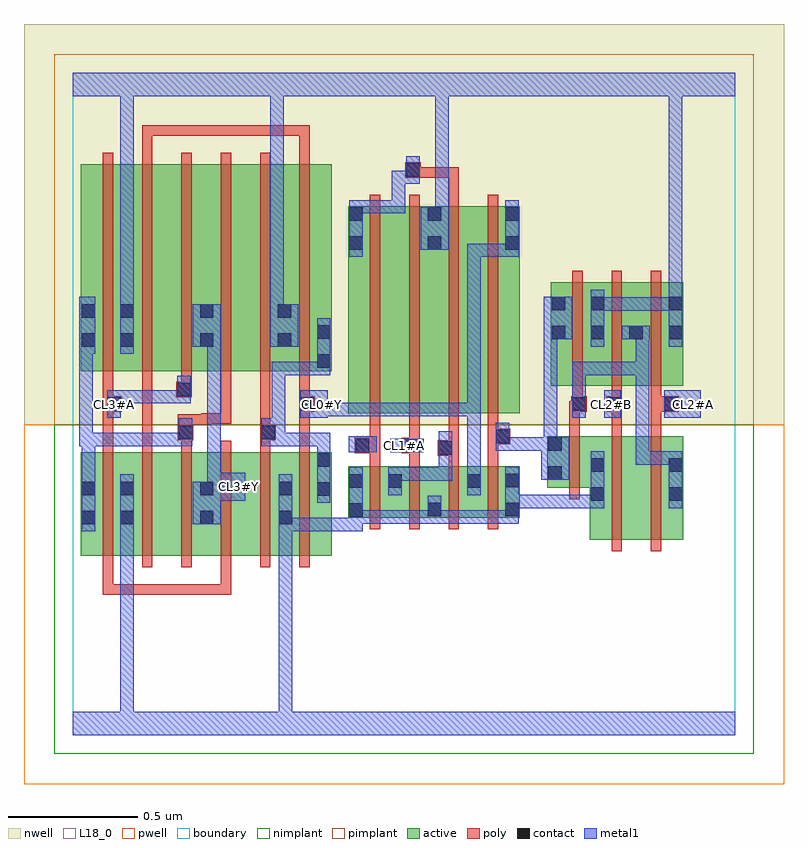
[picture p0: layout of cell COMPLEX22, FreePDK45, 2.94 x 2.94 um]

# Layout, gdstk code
import gdstk
lib = gdstk.Library(unit=1e-6, precision=1e-09)
def R(c, l, rs):  # rectangles x0, y0, x1, y1
    for r in rs: c.add(gdstk.rectangle(r[:2], r[2:], *l))
def A(c, l, x, y, w, h, nx, ny, dx, dy):  # array of equal rectangles
    R(c, l, [(x+i*dx, y+j*dy, x+i*dx+w, y+j*dy+h) for i in range(nx) for j in range(ny)])
active = (1, 0)
pwell = (2, 0)
nwell = (3, 0)
nimplant = (4, 0)
pimplant = (5, 0)
poly = (9, 0)
contact = (10, 0)
metal1 = (11, 0)
L18_0 = (18, 0)
boundary = (235, 0)

complex22 = lib.new_cell('COMPLEX22')
A(complex22, active, 1.064, 0.84, 0.212, 0.2, 3, 1, 0.152, 0)
R(complex22, active, [(0.032,0.694,0.24,1.094), (0.18,0.694,0.364,1.094), (0.364,0.694,0.548,1.094), (0.488,0.694,0.668,1.094), (0.668,0.694,0.852,1.094), (0.792,0.694,1,1.094), (0.032,0.756,0.092,1.094), (0.18,0.756,0.24,1.094), (0.488,0.756,0.548,1.094), (0.792,0.756,0.852,1.094), (0.94,0.756,1,1.094), (1.998,0.756,2.178,1.156), (1.998,0.756,2.058,1.074), (2.178,0.756,2.358,1.156), (2.298,0.756,2.358,1.156), (1.064,0.84,1.124,1.04), (1.368,0.84,1.428,0.902), (1.52,0.84,1.728,1.04), (1.668,0.84,1.728,1.04), (1.216,0.952,1.276,1.04), (1.52,0.952,1.58,1.012), (1.834,0.956,2.058,1.156), (1.834,0.956,1.894,1.156), (1.064,1.244,1.124,2.044), (1.064,1.244,1.244,2.044), (1.244,1.244,1.428,2.044), (1.368,1.244,1.548,2.044), (1.548,1.244,1.728,2.044), (1.668,1.244,1.728,2.044), (1.846,1.35,1.906,1.698), (1.846,1.35,2.058,1.75), (1.998,1.35,2.206,1.75), (1.998,1.35,2.058,1.698), (2.146,1.35,2.358,1.75), (2.146,1.35,2.206,1.644), (2.298,1.35,2.358,1.698), (0.032,1.406,0.092,2.044), (0.032,1.406,0.24,2.206), (0.18,1.406,0.364,2.206), (0.18,1.406,0.24,2.044), (0.364,1.406,0.548,2.206), (0.488,1.406,0.668,2.206), (0.488,1.406,0.548,2.044), (0.668,1.406,0.848,2.206), (0.788,1.406,0.848,2.044), (0.788,1.406,1,2.206), (0.94,1.406,1,2.044), (1.368,1.638,1.428,2.044)])
R(complex22, pwell, [(-0.188,-0.188,2.748,1.2)])
R(complex22, nwell, [(-0.188,1.2,2.748,2.748)])
R(complex22, nimplant, [(-0.072,-0.072,2.632,1.2)])
R(complex22, pimplant, [(-0.072,1.2,2.632,2.632)])
A(complex22, poly, 0.116, 0.65, 0.04, 0.488, 6, 1, 0.152, 0)
A(complex22, poly, 1.148, 0.796, 0.04, 0.288, 4, 1, 0.152, 0)
A(complex22, poly, 1.148, 1.2, 0.04, 0.888, 4, 1, 0.152, 0)
A(complex22, poly, 1.93, 1.27, 0.04, 0.076, 3, 1, 0.152, 0)
A(complex22, poly, 1.93, 1.306, 0.04, 0.488, 3, 1, 0.152, 0)
A(complex22, poly, 0.116, 1.362, 0.04, 0.888, 6, 1, 0.152, 0)
R(complex22, poly, [(0.116,0.544,0.156,0.584), (0.116,0.544,0.156,0.69), (0.116,0.544,0.324,0.584), (0.284,0.544,0.324,0.584), (0.284,0.544,0.324,0.584), (0.284,0.544,0.324,0.584), (0.284,0.544,0.43,0.584), (0.39,0.544,0.43,0.584), (0.39,0.544,0.43,0.584), (0.39,0.544,0.43,0.584), (0.39,0.544,0.536,0.584), (0.496,0.544,0.536,0.584), (0.496,0.544,0.612,0.584), (0.572,0.544,0.612,0.584), (0.572,0.544,0.612,0.69), (2.082,0.712,2.122,1.2), (2.234,0.712,2.274,1.2), (1.918,0.912,1.958,1.2), (1.148,1.044,1.188,1.13), (1.3,1.044,1.34,1.13), (1.452,1.044,1.492,1.12), (1.604,1.044,1.644,1.164), (1.41,1.08,1.492,1.14), (1.09,1.09,1.188,1.15), (1.272,1.09,1.34,1.15), (0.116,1.098,0.156,1.29), (0.268,1.098,0.308,1.366), (0.42,1.098,0.46,1.18), (0.724,1.098,0.764,1.18), (0.876,1.098,0.916,1.29), (1.452,1.1,1.492,1.14), (1.452,1.1,1.492,1.14), (1.452,1.1,1.492,1.24), (1.148,1.11,1.188,1.15), (1.148,1.11,1.188,1.15), (1.148,1.11,1.188,1.24), (1.3,1.11,1.34,1.15), (1.3,1.11,1.34,1.15), (1.3,1.11,1.34,1.24), (1.604,1.124,1.644,1.164), (1.604,1.124,1.644,1.164), (1.604,1.124,1.69,1.184), (0.406,1.14,0.466,1.24), (0.724,1.14,0.784,1.2), (1.604,1.144,1.644,1.24), (0.724,1.16,0.764,1.2), (0.724,1.16,0.764,1.2), (0.724,1.16,0.764,1.402), (1.918,1.16,1.958,1.29), (2.082,1.16,2.122,1.29), (2.234,1.16,2.274,1.29), (0.426,1.2,0.536,1.24), (0.496,1.2,0.536,1.244), (0.496,1.204,0.612,1.244), (0.572,1.204,0.612,1.244), (0.572,1.204,0.612,1.244), (0.572,1.204,0.612,1.244), (0.572,1.204,0.612,1.402), (0.116,1.25,0.156,1.29), (0.116,1.25,0.156,1.29), (0.116,1.25,0.19,1.31), (0.876,1.25,0.916,1.29), (0.876,1.25,0.916,1.29), (0.876,1.25,0.936,1.31), (1.918,1.25,1.966,1.29), (1.926,1.25,1.966,1.29), (1.926,1.25,1.986,1.31), (2.062,1.25,2.122,1.31), (2.234,1.25,2.274,1.29), (2.234,1.25,2.274,1.29), (2.234,1.25,2.342,1.31), (0.116,1.27,0.156,1.402), (0.876,1.27,0.916,1.402), (2.082,1.27,2.122,1.31), (2.082,1.27,2.122,1.31), (0.4,1.306,0.46,1.366), (0.268,1.326,0.308,1.402), (0.268,1.326,0.308,1.366), (0.268,1.326,0.308,1.366), (0.268,1.326,0.308,1.366), (0.42,1.326,0.46,1.402), (1.452,2.048,1.492,2.194), (1.284,2.154,1.344,2.214), (1.304,2.154,1.344,2.194), (1.304,2.154,1.344,2.194), (1.304,2.154,1.492,2.194), (1.452,2.154,1.492,2.194), (0.268,2.21,0.308,2.356), (0.876,2.21,0.916,2.356), (0.268,2.316,0.308,2.356), (0.268,2.316,0.43,2.356), (0.39,2.316,0.43,2.356), (0.39,2.316,0.43,2.356), (0.39,2.316,0.43,2.356), (0.39,2.316,0.572,2.356), (0.532,2.316,0.572,2.356), (0.532,2.316,0.572,2.356), (0.532,2.316,0.572,2.356), (0.532,2.316,0.678,2.356), (0.638,2.316,0.678,2.356), (0.638,2.316,0.678,2.356), (0.638,2.316,0.678,2.356), (0.638,2.316,0.916,2.356), (0.876,2.316,0.916,2.356), (0.876,2.316,0.916,2.356), (0.876,2.316,0.916,2.356)])
R(complex22, contact, [(0.036,0.816,0.088,0.868), (0.184,0.816,0.236,0.868), (0.492,0.816,0.544,0.868), (0.796,0.816,0.848,0.868), (1.068,0.844,1.12,0.896), (1.372,0.846,1.424,0.898), (1.672,0.846,1.724,0.898), (2.002,0.906,2.054,0.958), (2.302,0.906,2.354,0.958), (0.944,0.926,0.996,0.978), (0.036,0.928,0.088,0.98), (0.184,0.928,0.236,0.98), (0.492,0.928,0.544,0.98), (0.796,0.928,0.848,0.98), (1.068,0.956,1.12,1.008), (1.22,0.956,1.272,1.008), (1.524,0.956,1.576,1.008), (1.672,0.958,1.724,1.01), (1.838,0.988,1.89,1.04), (2.002,1.018,2.054,1.07), (2.302,1.018,2.354,1.07), (0.944,1.038,0.996,1.09), (1.414,1.084,1.466,1.136), (1.094,1.094,1.146,1.146), (1.276,1.094,1.328,1.146), (1.838,1.1,1.89,1.152), (1.634,1.128,1.686,1.18), (0.41,1.144,0.462,1.196), (0.728,1.144,0.78,1.196), (0.134,1.254,0.186,1.306), (0.88,1.254,0.932,1.306), (1.93,1.254,1.982,1.306), (2.066,1.254,2.118,1.306), (2.286,1.254,2.338,1.306), (0.404,1.31,0.456,1.362), (0.944,1.42,0.996,1.472), (0.036,1.502,0.088,1.554), (0.184,1.502,0.236,1.554), (0.492,1.502,0.544,1.554), (0.792,1.502,0.844,1.554), (1.85,1.53,1.902,1.582), (2.002,1.53,2.054,1.582), (2.15,1.53,2.202,1.582), (2.302,1.53,2.354,1.582), (0.944,1.532,0.996,1.584), (0.036,1.614,0.088,1.666), (0.184,1.614,0.236,1.666), (0.492,1.614,0.544,1.666), (0.792,1.614,0.844,1.666), (1.85,1.642,1.902,1.694), (2.002,1.642,2.054,1.694), (2.302,1.642,2.354,1.694), (1.068,1.876,1.12,1.928), (1.372,1.876,1.424,1.928), (1.672,1.876,1.724,1.928), (1.068,1.988,1.12,2.04), (1.372,1.988,1.424,2.04), (1.672,1.988,1.724,2.04), (1.288,2.158,1.34,2.21)])
R(complex22, metal1, [(0,0,2.56,0.092), (0.184,0.04,0.236,0.84), (0.796,0.04,0.848,0.84), (0.036,0.788,0.088,1.008), (0.184,0.788,0.236,0.84), (0.184,0.788,0.236,0.84), (0.184,0.788,0.236,0.84), (0.184,0.788,0.236,0.84), (0.184,0.788,0.236,0.84), (0.184,0.788,0.236,0.84), (0.184,0.788,0.236,0.84), (0.184,0.788,0.236,0.84), (0.184,0.788,0.236,0.84), (0.184,0.788,0.236,0.84), (0.184,0.788,0.236,0.84), (0.184,0.788,0.236,0.84), (0.184,0.788,0.236,1.008), (0.796,0.788,0.848,0.84), (0.796,0.788,0.848,0.84), (0.796,0.788,0.848,0.84), (0.796,0.788,0.848,0.84), (0.796,0.788,0.848,0.84), (0.796,0.788,0.848,0.84), (0.796,0.788,0.848,0.84), (0.796,0.788,0.848,0.84), (0.796,0.788,0.848,0.84), (0.796,0.788,0.848,0.84), (0.796,0.788,0.848,0.84), (0.796,0.788,0.848,0.84), (0.796,0.788,0.848,1.008), (0.796,0.788,1.008,0.84), (0.956,0.788,1.008,0.84), (0.956,0.788,1.008,0.84), (0.956,0.788,1.008,0.84), (0.956,0.788,1.12,0.84), (1.068,0.788,1.12,0.84), (1.068,0.788,1.12,0.84), (1.068,0.788,1.12,0.84), (1.068,0.788,1.12,0.868), (0.464,0.816,0.572,0.98), (1.068,0.816,1.12,1.036), (1.068,0.818,1.12,0.87), (1.068,0.818,1.12,0.87), (1.068,0.818,1.286,0.87), (1.234,0.818,1.286,0.87), (1.234,0.818,1.286,0.87), (1.234,0.818,1.286,0.87), (1.234,0.818,1.424,0.87), (1.372,0.818,1.424,0.926), (1.372,0.818,1.576,0.87), (1.524,0.818,1.576,0.87), (1.524,0.818,1.576,0.87), (1.524,0.818,1.576,0.87), (1.524,0.818,1.724,0.87), (1.672,0.818,1.724,0.87), (1.672,0.818,1.724,0.87), (1.672,0.818,1.724,1.038), (1.672,0.878,1.84,0.93), (1.788,0.878,1.84,0.93), (1.788,0.878,1.84,0.93), (1.788,0.878,1.84,0.93), (1.788,0.878,2.054,0.93), (2.002,0.878,2.054,1.098), (2.302,0.878,2.354,1.098), (0.944,0.898,0.996,1.118), (0.52,0.906,0.666,1.014), (0.52,0.928,0.572,0.98), (1.22,0.928,1.272,1.036), (1.524,0.928,1.576,1.036), (0.036,0.956,0.088,1.168), (0.52,0.962,0.572,1.014), (0.52,0.962,0.572,1.014), (0.52,0.962,0.572,1.554), (1.22,0.984,1.344,1.036), (1.292,0.984,1.344,1.036), (1.292,0.984,1.466,1.036), (1.414,0.984,1.466,1.036), (1.414,0.984,1.466,1.118), (1.524,0.984,1.576,1.284), (1.81,0.988,1.918,1.152), (2.176,1.046,2.228,1.098), (2.176,1.046,2.354,1.098), (2.176,1.046,2.228,1.444), (2.302,1.046,2.354,1.098), (2.302,1.046,2.354,1.098), (2.302,1.046,2.354,1.098), (2.302,1.046,2.354,1.098), (1.414,1.056,1.466,1.164), (0.944,1.066,0.996,1.168), (1.414,1.066,1.466,1.118), (1.414,1.066,1.466,1.174), (1.066,1.094,1.174,1.156), (1.226,1.094,1.356,1.146), (1.634,1.1,1.686,1.152), (1.634,1.1,1.686,1.152), (1.634,1.1,1.686,1.208), (1.634,1.1,1.872,1.152), (1.82,1.1,1.872,1.152), (1.82,1.1,1.872,1.152), (1.82,1.1,1.872,1.152), (1.82,1.1,1.872,1.152), (1.82,1.1,1.872,1.582), (0.026,1.116,0.078,1.526), (0.026,1.116,0.088,1.168), (0.036,1.116,0.088,1.168), (0.036,1.116,0.088,1.168), (0.036,1.116,0.296,1.168), (0.244,1.116,0.296,1.168), (0.244,1.116,0.296,1.168), (0.244,1.116,0.296,1.168), (0.244,1.116,0.406,1.168), (0.354,1.116,0.406,1.168), (0.354,1.116,0.462,1.168), (0.41,1.116,0.462,1.224), (0.728,1.116,0.78,1.224), (0.728,1.116,0.822,1.168), (0.77,1.116,0.822,1.168), (0.77,1.116,0.996,1.168), (0.77,1.116,0.822,1.444), (0.944,1.116,0.996,1.168), (0.944,1.116,0.996,1.168), (0.944,1.116,0.996,1.168), (0.134,1.226,0.186,1.334), (0.88,1.226,0.986,1.334), (1.93,1.226,1.982,1.334), (2.054,1.226,2.118,1.334), (2.286,1.226,2.426,1.334), (0.934,1.232,0.986,1.284), (0.934,1.232,0.986,1.284), (0.934,1.232,1.162,1.284), (1.11,1.232,1.162,1.284), (1.11,1.232,1.162,1.284), (1.11,1.232,1.162,1.284), (1.11,1.232,1.286,1.284), (1.234,1.232,1.286,1.284), (1.234,1.232,1.286,1.284), (1.234,1.232,1.286,1.284), (1.234,1.232,1.466,1.284), (1.414,1.232,1.466,1.284), (1.414,1.232,1.466,1.284), (1.414,1.232,1.466,1.284), (1.414,1.232,1.576,1.284), (1.524,1.232,1.576,1.284), (1.524,1.232,1.576,1.284), (1.524,1.232,1.576,1.284), (1.524,1.232,1.576,1.9), (0.134,1.282,0.296,1.334), (0.244,1.282,0.296,1.334), (0.244,1.282,0.296,1.334), (0.244,1.282,0.296,1.334), (0.244,1.282,0.406,1.334), (0.354,1.282,0.406,1.334), (0.354,1.282,0.456,1.334), (0.404,1.282,0.456,1.39), (1.93,1.282,1.982,1.334), (1.93,1.282,1.982,1.444), (0.77,1.392,0.822,1.444), (0.77,1.392,0.822,1.444), (0.77,1.392,0.822,1.444), (0.77,1.392,0.996,1.444), (0.944,1.392,0.996,1.444), (0.944,1.392,0.996,1.444), (0.944,1.392,0.996,1.612), (1.93,1.392,2.228,1.444), (2.176,1.392,2.228,1.444), (2.176,1.392,2.228,1.444), (2.176,1.392,2.228,1.444), (2.176,1.392,2.228,1.582), (0.026,1.474,0.078,1.526), (0.026,1.474,0.078,1.526), (0.026,1.474,0.088,1.694), (0.184,1.474,0.236,1.694), (0.464,1.502,0.572,1.666), (0.764,1.502,0.872,1.666), (2.002,1.502,2.054,1.722), (2.302,1.502,2.354,1.722), (1.82,1.53,1.93,1.694), (2.122,1.53,2.23,1.582), (0.764,1.614,0.816,1.666), (0.764,1.614,0.816,1.666), (0.764,1.614,0.816,2.52), (2.002,1.64,2.228,1.692), (2.176,1.64,2.228,1.692), (2.176,1.64,2.228,1.692), (2.176,1.64,2.228,1.692), (2.176,1.64,2.354,1.692), (2.302,1.64,2.354,1.692), (2.302,1.64,2.354,1.692), (0.184,1.642,0.236,2.52), (2.302,1.67,2.354,1.722), (2.302,1.67,2.354,1.722), (2.302,1.67,2.354,1.722), (2.302,1.67,2.354,1.722), (2.302,1.67,2.354,2.52), (1.068,1.848,1.12,2.068), (1.524,1.848,1.576,1.9), (1.524,1.848,1.724,1.9), (1.672,1.848,1.724,1.9), (1.672,1.848,1.724,1.9), (1.672,1.848,1.724,2.068), (1.344,1.876,1.452,2.04), (1.4,1.988,1.452,2.04), (1.4,1.988,1.452,2.04), (1.4,1.988,1.452,2.04), (1.4,1.988,1.452,2.04), (1.4,1.988,1.452,2.04), (1.4,1.988,1.452,2.04), (1.4,1.988,1.452,2.04), (1.4,1.988,1.452,2.04), (1.4,1.988,1.452,2.52), (1.068,2.016,1.12,2.068), (1.068,2.016,1.12,2.068), (1.068,2.016,1.284,2.068), (1.232,2.016,1.284,2.068), (1.232,2.016,1.284,2.182), (1.232,2.13,1.284,2.182), (1.232,2.13,1.34,2.182), (1.288,2.13,1.34,2.238), (0,2.468,2.56,2.56), (0.184,2.468,0.236,2.52), (0.184,2.468,0.236,2.52), (0.184,2.468,0.236,2.52), (0.184,2.468,0.236,2.52), (0.184,2.468,0.236,2.52), (0.184,2.468,0.236,2.52), (0.184,2.468,0.236,2.52), (0.184,2.468,0.236,2.52), (0.764,2.468,0.816,2.52), (0.764,2.468,0.816,2.52), (0.764,2.468,0.816,2.52), (0.764,2.468,0.816,2.52), (0.764,2.468,0.816,2.52), (0.764,2.468,0.816,2.52), (2.302,2.468,2.354,2.52), (2.302,2.468,2.354,2.52), (2.302,2.468,2.354,2.52), (2.302,2.468,2.354,2.52), (2.302,2.468,2.354,2.52), (2.302,2.468,2.354,2.52), (2.302,2.468,2.354,2.52), (2.302,2.468,2.354,2.52), (2.302,2.468,2.354,2.52), (2.302,2.468,2.354,2.52), (2.302,2.468,2.354,2.52), (2.302,2.468,2.354,2.52)])
A(complex22, L18_0, 1.094, 1.094, 0.052, 0.052, 3, 1, 0.16, 0)
R(complex22, L18_0, [(0,0,2.56,0.092), (0.184,0.04,0.236,0.84), (0.796,0.04,0.848,0.84), (0.184,0.788,0.236,0.84), (0.184,0.788,0.236,0.84), (0.184,0.788,0.236,0.84), (0.184,0.788,0.236,0.84), (0.184,0.788,0.236,0.84), (0.184,0.788,0.236,0.84), (0.184,0.788,0.236,0.84), (0.184,0.788,0.236,0.84), (0.184,0.788,0.236,0.84), (0.184,0.788,0.236,0.84), (0.184,0.788,0.236,0.84), (0.184,0.788,0.236,0.84), (0.184,0.788,0.236,1.008), (0.796,0.788,0.848,0.84), (0.796,0.788,0.848,0.84), (0.796,0.788,0.848,0.84), (0.796,0.788,0.848,0.84), (0.796,0.788,0.848,0.84), (0.796,0.788,0.848,0.84), (0.796,0.788,0.848,0.84), (0.796,0.788,0.848,0.84), (0.796,0.788,0.848,0.84), (0.796,0.788,0.848,0.84), (0.796,0.788,0.848,0.84), (0.796,0.788,0.848,0.84), (0.796,0.788,0.848,1.008), (0.796,0.788,1.008,0.84), (0.956,0.788,1.008,0.84), (0.956,0.788,1.008,0.84), (0.956,0.788,1.008,0.84), (0.956,0.788,1.12,0.84), (1.068,0.788,1.12,0.84), (1.068,0.788,1.12,0.84), (1.068,0.788,1.12,0.84), (1.068,0.788,1.12,0.868), (0.464,0.816,0.572,0.98), (1.068,0.816,1.12,1.036), (1.068,0.818,1.12,0.87), (1.068,0.818,1.12,0.87), (1.068,0.818,1.286,0.87), (1.234,0.818,1.286,0.87), (1.234,0.818,1.286,0.87), (1.234,0.818,1.286,0.87), (1.234,0.818,1.424,0.87), (1.372,0.818,1.424,0.926), (1.372,0.818,1.576,0.87), (1.524,0.818,1.576,0.87), (1.524,0.818,1.576,0.87), (1.524,0.818,1.576,0.87), (1.524,0.818,1.724,0.87), (1.672,0.818,1.724,0.87), (1.672,0.818,1.724,0.87), (1.672,0.818,1.724,1.038), (1.672,0.878,1.84,0.93), (1.788,0.878,1.84,0.93), (1.788,0.878,1.84,0.93), (1.788,0.878,1.84,0.93), (1.788,0.878,2.054,0.93), (2.002,0.878,2.054,1.098), (0.52,0.906,0.666,1.014), (0.52,0.928,0.572,0.98), (1.22,0.928,1.272,1.036), (1.524,0.928,1.576,1.036), (0.614,0.934,0.666,0.986), (0.52,0.962,0.572,1.014), (0.52,0.962,0.572,1.014), (0.52,0.962,0.572,1.554), (1.22,0.984,1.344,1.036), (1.292,0.984,1.344,1.036), (1.292,0.984,1.466,1.036), (1.414,0.984,1.466,1.036), (1.414,0.984,1.466,1.118), (1.524,0.984,1.576,1.284), (1.414,1.056,1.466,1.164), (1.414,1.066,1.466,1.174), (1.414,1.066,1.466,1.118), (1.066,1.094,1.174,1.156), (1.226,1.094,1.356,1.146), (0.134,1.226,0.186,1.334), (0.88,1.226,0.986,1.334), (2.054,1.226,2.118,1.334), (2.286,1.226,2.426,1.334), (0.934,1.232,0.986,1.284), (0.934,1.232,0.986,1.284), (0.934,1.232,1.162,1.284), (1.11,1.232,1.162,1.284), (1.11,1.232,1.162,1.284), (1.11,1.232,1.162,1.284), (1.11,1.232,1.286,1.284), (1.234,1.232,1.286,1.284), (1.234,1.232,1.286,1.284), (1.234,1.232,1.286,1.284), (1.234,1.232,1.466,1.284), (1.414,1.232,1.466,1.284), (1.414,1.232,1.466,1.284), (1.414,1.232,1.466,1.284), (1.414,1.232,1.576,1.284), (1.524,1.232,1.576,1.284), (1.524,1.232,1.576,1.284), (1.524,1.232,1.576,1.284), (1.524,1.232,1.576,1.9), (0.134,1.254,0.186,1.306), (0.934,1.254,0.986,1.306), (2.054,1.254,2.106,1.306), (2.374,1.254,2.426,1.306), (0.134,1.282,0.296,1.334), (0.244,1.282,0.296,1.334), (0.244,1.282,0.296,1.334), (0.244,1.282,0.296,1.334), (0.244,1.282,0.406,1.334), (0.354,1.282,0.406,1.334), (0.354,1.282,0.456,1.334), (0.404,1.282,0.456,1.39), (0.184,1.474,0.236,1.694), (0.464,1.502,0.572,1.666), (0.764,1.502,0.872,1.666), (2.002,1.502,2.054,1.722), (2.302,1.502,2.354,1.722), (0.764,1.614,0.816,1.666), (0.764,1.614,0.816,1.666), (0.764,1.614,0.816,2.52), (2.002,1.64,2.228,1.692), (2.176,1.64,2.228,1.692), (2.176,1.64,2.228,1.692), (2.176,1.64,2.228,1.692), (2.176,1.64,2.354,1.692), (2.302,1.64,2.354,1.692), (2.302,1.64,2.354,1.692), (0.184,1.642,0.236,2.52), (2.302,1.67,2.354,1.722), (2.302,1.67,2.354,1.722), (2.302,1.67,2.354,1.722), (2.302,1.67,2.354,1.722), (2.302,1.67,2.354,2.52), (1.068,1.848,1.12,2.068), (1.524,1.848,1.576,1.9), (1.524,1.848,1.724,1.9), (1.672,1.848,1.724,1.9), (1.672,1.848,1.724,1.9), (1.672,1.848,1.724,2.068), (1.344,1.876,1.452,2.04), (1.4,1.988,1.452,2.04), (1.4,1.988,1.452,2.04), (1.4,1.988,1.452,2.04), (1.4,1.988,1.452,2.04), (1.4,1.988,1.452,2.04), (1.4,1.988,1.452,2.04), (1.4,1.988,1.452,2.04), (1.4,1.988,1.452,2.04), (1.4,1.988,1.452,2.52), (1.068,2.016,1.12,2.068), (1.068,2.016,1.12,2.068), (1.068,2.016,1.284,2.068), (1.232,2.016,1.284,2.068), (1.232,2.016,1.284,2.182), (1.232,2.13,1.284,2.182), (1.232,2.13,1.34,2.182), (1.288,2.13,1.34,2.238), (0,2.468,2.56,2.56), (0.184,2.468,0.236,2.52), (0.184,2.468,0.236,2.52), (0.184,2.468,0.236,2.52), (0.184,2.468,0.236,2.52), (0.184,2.468,0.236,2.52), (0.184,2.468,0.236,2.52), (0.184,2.468,0.236,2.52), (0.184,2.468,0.236,2.52), (0.764,2.468,0.816,2.52), (0.764,2.468,0.816,2.52), (0.764,2.468,0.816,2.52), (0.764,2.468,0.816,2.52), (0.764,2.468,0.816,2.52), (0.764,2.468,0.816,2.52), (2.302,2.468,2.354,2.52), (2.302,2.468,2.354,2.52), (2.302,2.468,2.354,2.52), (2.302,2.468,2.354,2.52), (2.302,2.468,2.354,2.52), (2.302,2.468,2.354,2.52), (2.302,2.468,2.354,2.52), (2.302,2.468,2.354,2.52), (2.302,2.468,2.354,2.52), (2.302,2.468,2.354,2.52), (2.302,2.468,2.354,2.52), (2.302,2.468,2.354,2.52)])
R(complex22, boundary, [(0,0,2.56,2.56)])
complex22.add(gdstk.Label('CL0#Y', (0.96,1.28), layer=11, texttype=0))
complex22.add(gdstk.Label('CL1#A', (1.28,1.12), layer=11, texttype=0))
complex22.add(gdstk.Label('CL1#B', (1.12,1.12), layer=11, texttype=0))
complex22.add(gdstk.Label('CL1#Y', (1.44,1.12), layer=11, texttype=0))
complex22.add(gdstk.Label('CL2#A', (2.4,1.28), layer=11, texttype=0))
complex22.add(gdstk.Label('CL2#B', (2.08,1.28), layer=11, texttype=0))
complex22.add(gdstk.Label('CL3#A', (0.16,1.28), layer=11, texttype=0))
complex22.add(gdstk.Label('CL3#Y', (0.64,0.96), layer=11, texttype=0))

lib.write_gds('COMPLEX22.gds')
